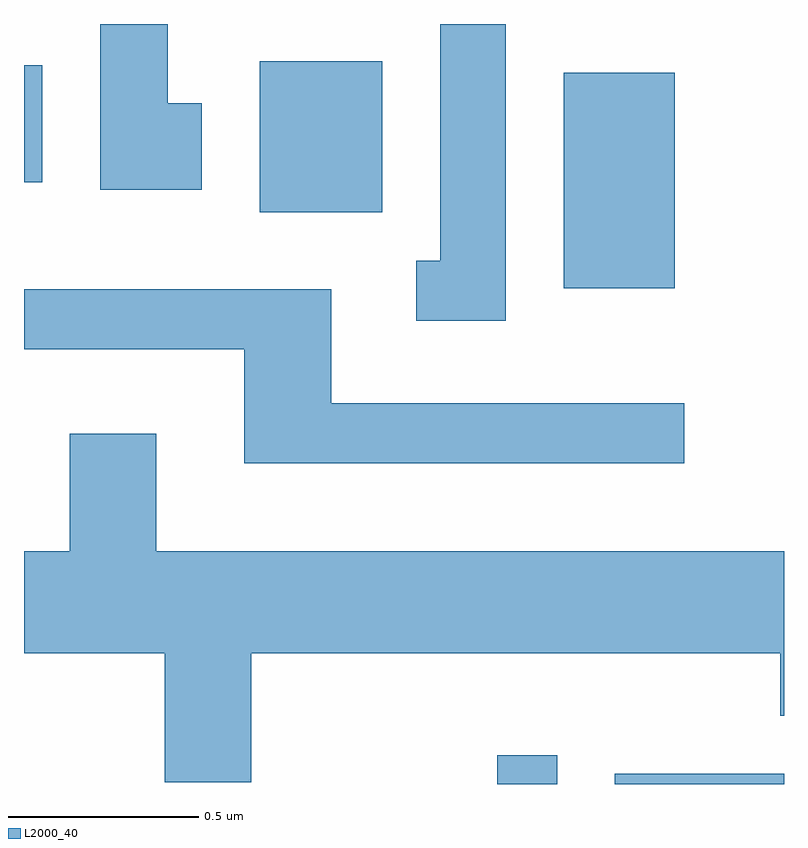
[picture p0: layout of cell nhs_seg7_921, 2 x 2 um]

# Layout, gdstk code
import gdstk
lib = gdstk.Library(unit=1e-6, precision=1e-09)
def R(c, l, rs):  # rectangles x0, y0, x1, y1
    for r in rs: c.add(gdstk.rectangle(r[:2], r[2:], *l))
def P(c, l, *ps):  # polygons
    for p in ps: c.add(gdstk.Polygon(p, *l))
L2000_40 = (2000, 40)

nhs_seg7_921 = lib.new_cell('nhs_seg7_921')
R(nhs_seg7_921, L2000_40, [(192.856,1767.252,193.014,1767.328), (193.166,1767.252,193.611,1767.279), (193.031,1768.556,193.324,1769.124), (192.231,1768.756,192.554,1769.154), (191.611,1768.836,191.659,1769.144)])
P(nhs_seg7_921, L2000_40, [(192.879,1769.252),(192.706,1769.252),(192.706,1768.629),(192.643,1768.629),(192.643,1768.471),(192.879,1768.471)],
  [(192.079,1769.044),(191.989,1769.044),(191.989,1769.252),(191.811,1769.252),(191.811,1768.816),(192.079,1768.816)],
  [(193.348,1768.254),(192.419,1768.254),(192.419,1768.554),(191.611,1768.554),(191.611,1768.396),(192.191,1768.396),(192.191,1768.096),(193.348,1768.096)],
  [(192.209,1767.596),(193.601,1767.596),(193.601,1767.431),(193.611,1767.431),(193.611,1767.864),(191.959,1767.864),(191.959,1768.174),(191.731,1768.174),(191.731,1767.864),(191.611,1767.864),(191.611,1767.596),(191.981,1767.596),(191.981,1767.256),(192.209,1767.256)])

lib.write_gds('nhs_seg7_921.gds')
